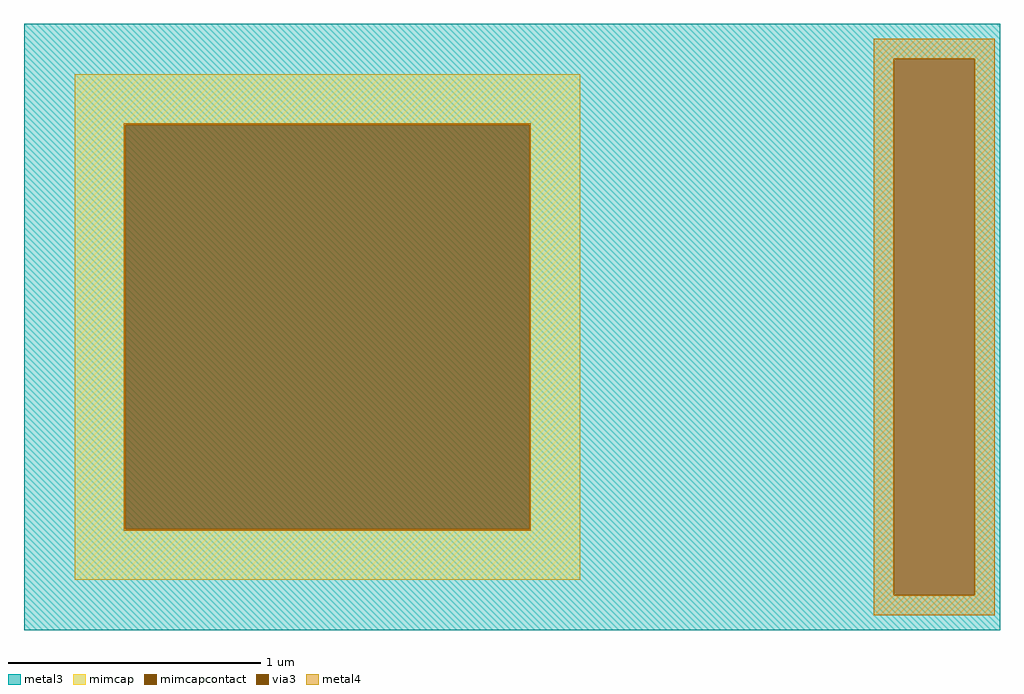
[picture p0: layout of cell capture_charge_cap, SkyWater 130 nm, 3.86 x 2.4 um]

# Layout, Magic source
magic
tech sky130A
magscale 1 2
<< metal3 >>
rect -386 212 386 240
rect -386 -212 302 212
rect 366 -212 386 212
rect -386 -240 386 -212
<< via3 >>
rect 302 -212 366 212
<< mimcap >>
rect -346 160 54 200
rect -346 -160 -306 160
rect 14 -160 54 160
rect -346 -200 54 -160
<< mimcapcontact >>
rect -306 -160 14 160
<< metal4 >>
rect 286 212 382 228
rect -307 160 15 161
rect -307 -160 -306 160
rect 14 -160 15 160
rect -307 -161 15 -160
rect 286 -212 302 212
rect 366 -212 382 212
rect 286 -228 382 -212
<< properties >>
string FIXED_BBOX -386 -240 94 240
<< end >>
